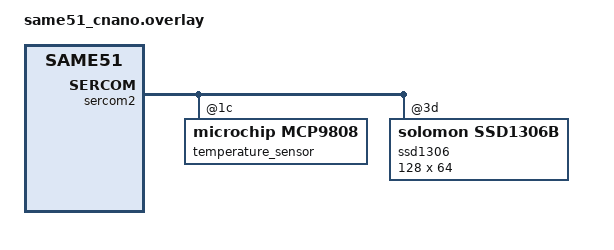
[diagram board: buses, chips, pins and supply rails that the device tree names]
/ {
	chosen {
		zephyr,display = &ssd1306;
	};

	aliases {
		temperature-sensor = &temperature_sensor;
	};
};

&sercom2 {
	temperature_sensor: temperature_sensor@1c {
		compatible = "microchip,mcp9808";
		reg = <0x1c>;
	};

	ssd1306: ssd1306@3d {
		compatible = "solomon,ssd1306b";
		reg = <0x3d>;
		segment-offset = <0>;
		page-offset = <0>;
		display-offset = <0>;
		multiplex-ratio = <63>;
		prechargep = <0x22>;
		height = <64>;
		width = <128>;
		segment-remap;
		com-invdir;
	};
};
